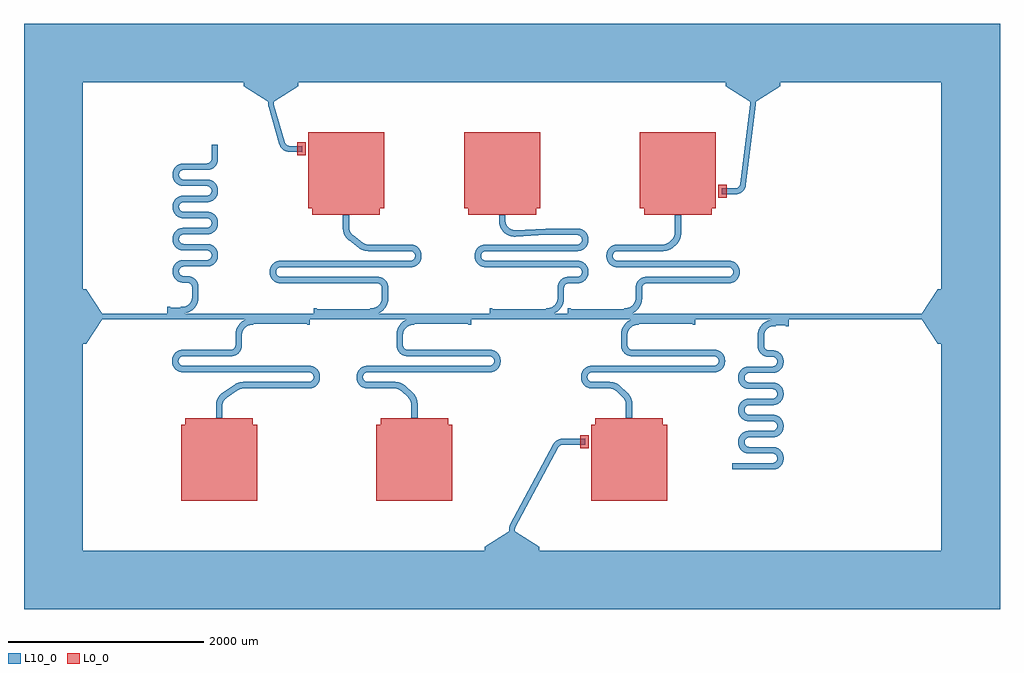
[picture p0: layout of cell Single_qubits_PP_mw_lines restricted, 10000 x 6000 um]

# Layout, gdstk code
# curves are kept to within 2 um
import gdstk
lib = gdstk.Library(unit=1e-6, precision=1e-09)
def R(c, l, rs):  # rectangles x0, y0, x1, y1
    for r in rs: c.add(gdstk.rectangle(r[:2], r[2:], *l))
def P(c, l, *ps):  # polygons
    for p in ps: c.add(gdstk.Polygon(p, *l))
L0_0 = (0, 0)
L10_0 = (10, 0)

single_qubits_pp_mw_line = lib.new_cell('Single_qubits_PP_mw_lines restricted')
R(single_qubits_pp_mw_line, L0_0, [(5700,1650,5785,1785), (5700,1650,5785,1785), (5700,1650,5785,1785), (7115,4215,7200,4350), (7115,4215,7200,4350), (7115,4215,7200,4350), (2800,4650,2885,4785), (2800,4650,2885,4785), (2800,4650,2885,4785)])
P(single_qubits_pp_mw_line, L0_0, [(4510,4890),(4510,4110),(4554,4110),(4554,4044),(5246,4044),(5246,4110),(5290,4110),(5290,4890)],
  [(4390,1110),(4390,1890),(4346,1890),(4346,1956),(3654,1956),(3654,1890),(3610,1890),(3610,1110)],
  [(6546,1890),(6546,1956),(5854,1956),(5854,1890),(5810,1890),(5810,1110),(6590,1110),(6590,1890)],
  [(2390,1110),(2390,1890),(2346,1890),(2346,1956),(1654,1956),(1654,1890),(1610,1890),(1610,1110)],
  [(6354,4110),(6354,4044),(7046,4044),(7046,4110),(7090,4110),(7090,4890),(6310,4890),(6310,4110)],
  [(2910,4890),(2910,4110),(2954,4110),(2954,4044),(3646,4044),(3646,4110),(3690,4110),(3690,4890)],
  [(4510,4890),(4510,4110),(4554,4110),(4554,4044),(5246,4044),(5246,4110),(5290,4110),(5290,4890)],
  [(4390,1110),(4390,1890),(4346,1890),(4346,1956),(3654,1956),(3654,1890),(3610,1890),(3610,1110)],
  [(6546,1890),(6546,1956),(5854,1956),(5854,1890),(5810,1890),(5810,1110),(6590,1110),(6590,1890)],
  [(2390,1110),(2390,1890),(2346,1890),(2346,1956),(1654,1956),(1654,1890),(1610,1890),(1610,1110)],
  [(6354,4110),(6354,4044),(7046,4044),(7046,4110),(7090,4110),(7090,4890),(6310,4890),(6310,4110)],
  [(2910,4890),(2910,4110),(2954,4110),(2954,4044),(3646,4044),(3646,4110),(3690,4110),(3690,4890)],
  [(4510,4890),(4510,4110),(4554,4110),(4554,4044),(5246,4044),(5246,4110),(5290,4110),(5290,4890)],
  [(4390,1110),(4390,1890),(4346,1890),(4346,1956),(3654,1956),(3654,1890),(3610,1890),(3610,1110)],
  [(6546,1890),(6546,1956),(5854,1956),(5854,1890),(5810,1890),(5810,1110),(6590,1110),(6590,1890)],
  [(2390,1110),(2390,1890),(2346,1890),(2346,1956),(1654,1956),(1654,1890),(1610,1890),(1610,1110)],
  [(6354,4110),(6354,4044),(7046,4044),(7046,4110),(7090,4110),(7090,4890),(6310,4890),(6310,4110)],
  [(2910,4890),(2910,4110),(2954,4110),(2954,4044),(3646,4044),(3646,4110),(3690,4110),(3690,4890)])
R(single_qubits_pp_mw_line, L10_0, [(7259,1432.5,7289,1497.5), (7517.5,2720,7582.5,2770), (2167.5,2726.5,2232.5,2776.5), (3817.5,2726.5,3882.5,2776.5), (6117.5,2726.5,6182.5,2776.5), (7805,2902,7835,2967), (7700,2911,7805,3029), (2900,2915,2930,2980), (4550,2915,4580,2980), (6850,2915,6880,2980), (2350,2924,2900,3029), (4000,2924,4550,3029), (6300,2924,6850,3029), (800,2971,9200,3029), (1500,2971,1605,3089), (3000,2971,3550,3076), (4800,2971,5350,3076), (5600,2971,6150,3076), (2970,3020,3000,3085), (4770,3020,4800,3085), (5570,3020,5600,3085), (1470,3033,1500,3098), (3667.5,3223.5,3732.5,3273.5), (5467.5,3223.5,5532.5,3273.5), (6267.5,3223.5,6332.5,3273.5), (1722.5,3230,1787.5,3280), (3538.319,3671,3663.661,3736), (6336.669,3671,6541.681,3736), (5354.646,3836,5557.548,3901), (1922.5,4730,1987.5,4760)])
P(single_qubits_pp_mw_line, L10_0, [(4971,800),(5029,800),(5029.388,824.354),(5034.479,841.085),(5475.783,1663.731),(5487.807,1677.44),(5503.885,1686.043),(5550,1688.5),(5550,1746.5),(5506.487,1745.72),(5476.327,1737.58),(5447.727,1719.522),(5426.04,1693.566),(4982.704,867.236),(4972.612,836.783)],
  [(5750,1685),(5750,1750),(5550,1746.5),(5550,1688.5)],
  [(7499,5200),(7441,5200),(7337.478,4349.028),(7327.237,4329.575),(7308.636,4315.736),(7291.981,4311.636),(7250,4311.5),(7250,4253.5),(7304.023,4254.639),(7341.209,4267.205),(7360.505,4280.85),(7374.832,4296.226),(7385.942,4314.066),(7393.422,4333.706),(7498.205,5175.449)],
  [(7150,4315),(7150,4250),(7250,4253.5),(7250,4311.5)],
  [(2559,5200),(2501,5200),(2502.079,5166.062),(2618.915,4759.764),(2638.623,4726.322),(2668.801,4701.906),(2703.05,4690.016),(2750,4688.5),(2750,4746.5),(2716.316,4746.734),(2701.047,4750.643),(2684.186,4762.393),(2673.333,4779.845),(2560.695,5168.342)],
  [(2850,4685),(2850,4750),(2750,4746.5),(2750,4688.5)],
  [(7771.524,2588.473),(7746.705,2622.299),(7713.661,2643.684),(7680.535,2652.008),(7622.24,2653.14),(7602.807,2661.057),(7592.374,2671.012),(7585.038,2684.688),(7582.5,2720),(7517.5,2720),(7519.009,2681.62),(7529.64,2649.16),(7549.522,2621.387),(7579.16,2599.64),(7601.307,2591.218),(7624.727,2587.621)],
  [(7771.524,2486.527),(7779.424,2508.865),(7782.5,2534.81),(7780.529,2560.977),(7771.961,2587.529),(7627.363,2587.529),(7682.114,2585.927),(7697.193,2578.943),(7709.57,2566.272),(7717.029,2546.659),(7715.927,2522.886),(7706.226,2504.28),(7690.465,2492.137),(7671.113,2487.515),(7429.81,2487.5),(7406.438,2485.007),(7770.777,2485.007)],
  [(7383.14,2362.24),(7382.971,2381.659),(7388.681,2398.427),(7400.138,2411.936),(7415.747,2420.309),(7690.977,2424.471),(7716.08,2432.368),(7738.661,2445.88),(7757.486,2464.268),(7770.777,2485.007),(7406.438,2485.007),(7396.24,2482.317),(7365.591,2467.24),(7342.514,2445.732),(7326.316,2418.661),(7318.27,2388.158),(7317.776,2362.094)],
  [(7772.632,2256.08),(7759.12,2278.661),(7740.732,2297.486),(7720.84,2310.36),(7696.135,2319.424),(7672.637,2322.471),(7424.445,2322.828),(7410.545,2326.669),(7397.616,2335.254),(7388.144,2347.548),(7383.166,2362.094),(7317.776,2362.094),(7325.321,2328.781),(7344.196,2297.237),(7372.233,2273.461),(7403.865,2260.576),(7427.363,2257.529)],
  [(7766.539,2147.233),(7778.079,2173.765),(7782.379,2199.727),(7780.991,2228.38),(7772.699,2255.927),(7682.114,2255.927),(7695.338,2250.175),(7706.936,2239.862),(7714.591,2226.361),(7717.446,2212.226),(7716.444,2195.052),(7710.758,2180.611),(7700.72,2168.774),(7686.361,2160.409),(7671.113,2157.515),(7424.727,2157.379),(7401.307,2153.782),(7381.527,2146.524)],
  [(7385.805,2022.598),(7382.515,2046.113),(7386.669,2064.455),(7398.439,2080.496),(7415.747,2090.309),(7688.38,2094.009),(7711.219,2100.321),(7732.228,2111.275),(7750.478,2126.387),(7766.103,2146.524),(7381.527,2146.524),(7353.295,2127.299),(7333.461,2102.767),(7320.576,2071.135),(7317.529,2037.363),(7319.018,2021.567)],
  [(7774.679,1921.219),(7762.24,1944.409),(7742.763,1965.804),(7720.84,1980.36),(7693.562,1990.007),(7670.19,1992.5),(7425.552,1992.711),(7401.902,2001.705),(7386.225,2021.567),(7319.018,2021.567),(7329.64,1989.16),(7349.522,1961.387),(7376.821,1940.86),(7406.438,1929.993),(7429.81,1927.5),(7671.113,1927.485),(7694.389,1920.758)],
  [(7759.12,1806.339),(7773.684,1831.339),(7781.391,1859.227),(7781.73,1893.158),(7774.854,1920.758),(7694.389,1920.758),(7705.496,1911.561),(7713.331,1899.455),(7717.289,1870.552),(7707.626,1846.012),(7697.193,1836.057),(7685.312,1830.038),(7669.81,1827.5),(7422.094,1827.224),(7391.247,1820.617),(7361.536,1804.268),(7757.486,1804.268)],
  [(7391.705,1681.902),(7383.14,1702.24),(7384.37,1728.187),(7396.023,1748.19),(7414.688,1759.962),(7428.887,1762.485),(7683.158,1763.27),(7723.179,1775.86),(7740.732,1787.514),(7757.486,1804.268),(7361.536,1804.268),(7339.295,1781.553),(7323.504,1751.267),(7317.621,1720.273),(7320.576,1683.865),(7321.218,1681.307)],
  [(7777.317,1583.76),(7765.158,1610.014),(7746.705,1632.299),(7720.84,1650.36),(7693.562,1660.007),(7670.19,1662.5),(7427.774,1662.554),(7407.548,1668.144),(7392.152,1681.307),(7321.218,1681.307),(7333.461,1652.233),(7353.295,1627.701),(7379.16,1609.64),(7406.438,1599.993),(7429.81,1597.5),(7672.226,1597.446),(7689.455,1593.331),(7703.977,1583.19)],
  [(7672.637,1432.529),(7698.693,1436.218),(7723.179,1445.86),(7744.755,1460.926),(7762.24,1480.591),(7774.679,1503.781),(7781.391,1529.227),(7782.224,1557.906),(7777.489,1583.19),(7703.977,1583.19),(7716.444,1559.948),(7715.309,1530.747),(7701.561,1509.504),(7677.76,1498.14),(7289,1497.5),(7289,1432.5)],
  [(7700,2902),(7700,2967),(7667.406,2966.475),(7638.424,2961.465),(7610.819,2951.312),(7585.497,2936.351),(7552.564,2904.719),(7529.25,2864.504),(7518.683,2823.419),(7517.5,2770),(7582.5,2770),(7585.335,2827.164),(7593.67,2849.141),(7607.504,2869.154),(7625.097,2884.74),(7647.751,2896.34),(7670.681,2901.505)],
  [(1935.014,4385.158),(1908.76,4397.317),(1880.273,4402.379),(1629.445,4402.828),(1610.611,4409.242),(1596.057,4422.807),(1596.057,4383.725)],
  [(1596.705,4483.098),(1602.616,4489.746),(1609.662,4495.175),(1617.598,4499.195),(1626.144,4501.665),(1596.057,4501.665),(1596.057,4482.193)],
  [(1596.057,4422.807),(1589.691,4435.747),(1587.5,4450.19),(1589.073,4467.114),(1596.057,4482.193),(1596.057,4501.665),(1532.639,4501.665),(1524.009,4473.38),(1522.992,4439.465),(1529.383,4411.247),(1544.096,4383.725),(1596.057,4383.725)],
  [(1983.079,4253.765),(1987.008,4274.465),(1987.008,4300.535),(1975.36,4340.84),(1960.804,4362.763),(1941.553,4380.705),(1937.228,4383.725),(1916.856,4383.725),(1916.856,4312.452),(1922.5,4289.81),(1916.856,4251.81)],
  [(1916.856,4262.548),(1913.295,4256.902),(1908.977,4251.81),(1916.856,4251.81)],
  [(1916.856,4383.725),(1544.096,4383.725),(1558.295,4367.701),(1574.986,4354.842),(1614.023,4339.471),(1879.448,4337.289),(1901.272,4329.57),(1916.856,4312.452)],
  [(1630.552,4172.289),(1875.19,4172.5),(1898.562,4174.993),(1925.84,4184.64),(1951.705,4202.701),(1970.158,4224.986),(1982.489,4251.81),(1908.977,4251.81),(1894.455,4241.669),(1877.226,4237.554),(1629.445,4237.362)],
  [(1592.629,4146.464),(1607.807,4163.943),(1629.445,4172.172),(1629.445,4237.362),(1596.247,4230.617),(1568.447,4215.705),(1545.88,4193.661),(1530.321,4166.219),(1524.38,4145.465)],
  [(1974.14,4013.179),(1960.804,4032.763),(1943.661,4049.12),(1923.473,4061.524),(1898.562,4070.007),(1875.19,4072.5),(1630.552,4072.711),(1608.728,4080.43),(1593.144,4097.548),(1593.144,4015.581),(1606.307,4011.218)],
  [(1593.144,4097.548),(1587.515,4118.887),(1592.137,4145.465),(1524.38,4145.465),(1522.992,4109.465),(1530.321,4078.781),(1547.514,4049.268),(1570.591,4027.76),(1593.144,4015.581)],
  [(1976.524,3906.527),(1985.529,3934.023),(1987.471,3962.637),(1983.782,3988.693),(1975.163,4011.218),(1912.626,4011.218),(1912.626,3988.988),(1919.962,3975.312),(1922.5,3959.81),(1920.63,3941.813),(1912.626,3926.012),(1912.626,3905.007)],
  [(1912.626,3926.012),(1905.72,3918.774),(1897.452,3913.144),(1888.187,3909.37),(1878.338,3907.62),(1634.81,3907.5),(1621.842,3906.73),(1611.438,3905.007),(1912.626,3905.007)],
  [(1912.626,4011.218),(1606.307,4011.218),(1619.227,4008.609),(1632.363,4007.529),(1878.338,4007.38),(1888.187,4005.63),(1897.452,4001.856),(1905.72,3996.226),(1912.626,3988.988)],
  [(1594.825,3820.338),(1610.611,3835.758),(1631.662,3842.38),(1875.19,3842.5),(1898.562,3844.993),(1923.473,3853.476),(1943.661,3865.88),(1962.486,3884.268),(1975.777,3905.007),(1611.438,3905.007),(1594.242,3899.854)],
  [(1590.805,3772.598),(1587.515,3796.113),(1594.242,3819.389),(1594.242,3899.854),(1566.339,3884.12),(1542.76,3859.409),(1528.504,3831.267),(1522.529,3797.637),(1524.009,3771.62)],
  [(1981.496,3666.267),(1968.725,3692.228),(1949.755,3714.074),(1925.84,3730.36),(1898.562,3740.007),(1875.19,3742.5),(1627.094,3743.166),(1627.094,3677.776),(1876.113,3677.485),(1893.433,3673.775),(1907.384,3664.746)],
  [(1627.094,3743.166),(1605.138,3753.064),(1591.203,3771.62),(1524.009,3771.62),(1534.64,3739.16),(1552.701,3713.295),(1577.233,3693.461),(1606.307,3681.218),(1627.094,3677.776)],
  [(1941.553,3534.295),(1967.24,3560.591),(1982.317,3591.24),(1987.5,3630.19),(1981.994,3664.746),(1916.856,3664.746),(1922.5,3629.81),(1916.856,3602.548),(1916.856,3533.661)],
  [(1916.856,3602.548),(1901.272,3585.43),(1879.448,3577.711),(1614.023,3575.529),(1577.233,3561.539),(1545.88,3533.661),(1916.856,3533.661)],
  [(1916.856,3664.746),(1907.384,3664.746),(1912.626,3658.988),(1916.856,3652.452)],
  [(1622.886,3414.073),(1615.545,3416.669),(1607.807,3421.057),(1601.81,3426.023),(1596.057,3432.807),(1596.057,3413.92)],
  [(1596.705,3493.098),(1611.573,3506.319),(1629.445,3512.172),(1882.906,3512.776),(1913.753,3519.383),(1940.667,3533.661),(1596.057,3533.661)],
  [(1596.057,3432.807),(1589.691,3445.747),(1587.5,3460.19),(1589.073,3477.114),(1596.057,3492.193),(1596.057,3533.661),(1545.88,3533.661),(1530.321,3506.219),(1523.27,3478.158),(1523.609,3444.227),(1532.368,3413.92),(1596.057,3413.92)],
  [(1787.5,3300.19),(1781.496,3336.267),(1764.12,3368.661),(1737.228,3393.725),(1703.098,3408.931),(1703.098,3338.295),(1713.295,3328.098),(1719.962,3315.312),(1722.5,3280),(1787.5,3280)],
  [(1703.098,3408.931),(1677.637,3412.471),(1532.368,3413.92),(1554.522,3381.387),(1588.92,3357.368),(1621.842,3348.27),(1682.76,3346.86),(1703.098,3338.295)],
  [(1627.24,4501.86),(1880.273,4502.621),(1908.76,4507.683),(1935.014,4519.842),(1951.705,4532.701),(1967.24,4550.591),(1984.424,4588.865),(1987.471,4612.363),(1987.5,4730),(1922.5,4730),(1922.029,4608.341),(1915.175,4589.662),(1900.338,4574.825),(1877.226,4567.554),(1632.363,4567.471),(1606.307,4563.782),(1584.16,4555.36),(1562.237,4540.804),(1545.88,4523.661),(1532.639,4501.665)],
  [(1605,3098),(1605,3033),(1637.594,3033.525),(1666.576,3038.535),(1694.181,3048.688),(1719.503,3063.649),(1752.436,3095.281),(1775.75,3135.496),(1786.317,3176.581),(1787.5,3230),(1722.5,3230),(1719.665,3172.836),(1711.33,3150.859),(1697.496,3130.846),(1679.903,3115.26),(1657.249,3103.66),(1634.319,3098.495)],
  [(5991.681,2329),(5991.681,2264),(6027.142,2260.026),(6057.371,2245.035),(6139.786,2168.066),(6157.895,2142.174),(6167.317,2105.926),(6167.5,1956),(6232.5,1956),(6231.662,2116.481),(6222.88,2155.067),(6206.842,2187.62),(6183.981,2215.803),(6108.755,2286.877),(6087.68,2303.056),(6042.309,2323.287)],
  [(7106.267,2435.004),(7138.661,2452.38),(7162.24,2477.091),(7178.079,2510.265),(7182.5,2546.69),(7176.496,2582.767),(7160.705,2613.053),(7136.553,2637.205),(7105.496,2653.248),(7105.496,2578.061),(7114.591,2562.861),(7117.5,2546.31),(7114.962,2526.188),(7105.496,2509.939)],
  [(7070.19,2429),(7105.496,2434.752),(7105.496,2509.939),(7089.455,2498.169),(7071.113,2494.015),(6185.409,2494),(6185.409,2429)],
  [(7105.496,2653.248),(7070.19,2659),(6227.774,2659.054),(6213.639,2661.909),(6201.902,2668.205),(6192.374,2677.512),(6185.409,2690.139),(6185.409,2603.22),(6206.438,2596.493),(6229.81,2594),(7071.113,2593.985),(7089.455,2589.831),(7105.496,2578.061)],
  [(5991.681,2329),(5816.662,2329.12),(5799.535,2333.637),(5785.254,2344.116),(5785.254,2269.506),(5817.363,2264.029),(5991.681,2264)],
  [(5786.81,2415.477),(5801.567,2425.275),(5818.887,2428.985),(6185.409,2429),(6185.409,2494),(5799.023,2492.029),(5785.254,2488.494)],
  [(6185.409,2690.139),(6182.5,2726.5),(6117.5,2726.5),(6119.471,2685.523),(6130.86,2653.321),(6153.295,2624.201),(6185.409,2603.22)],
  [(5785.254,2344.116),(5775.805,2359.098),(5772.5,2376.69),(5775.038,2396.812),(5785.254,2413.884),(5785.254,2488.494),(5753.447,2472.205),(5729.295,2448.053),(5713.504,2417.767),(5707.5,2381.69),(5711.218,2347.807),(5723.461,2318.733),(5743.295,2294.201),(5771.527,2274.976),(5785.254,2269.506)],
  [(6300,2915),(6300,2980),(6266.887,2979.18),(6238.028,2973.594),(6210.649,2962.901),(6185.643,2947.451),(6153.358,2915.198),(6129.276,2873.166),(6118.686,2832.039),(6117.5,2776.5),(6182.5,2776.5),(6185.341,2835.788),(6193.694,2857.786),(6208.98,2880.712),(6226.253,2896.631),(6248.659,2908.671),(6271.467,2914.288)],
  [(3791.681,2329),(3791.681,2264),(3827.142,2260.026),(3857.371,2245.035),(3939.786,2168.066),(3957.895,2142.174),(3967.317,2105.926),(3967.5,1956),(4032.5,1956),(4031.662,2116.481),(4022.88,2155.067),(4006.842,2187.62),(3983.981,2215.803),(3908.755,2286.877),(3887.68,2303.056),(3842.309,2323.287)],
  [(4806.267,2435.004),(4838.661,2452.38),(4862.24,2477.091),(4878.079,2510.265),(4882.5,2546.69),(4876.496,2582.767),(4860.705,2613.053),(4836.553,2637.205),(4805.496,2653.248),(4805.496,2578.061),(4814.591,2562.861),(4817.5,2546.31),(4814.962,2526.188),(4805.496,2509.939)],
  [(4770.19,2429),(4805.496,2434.752),(4805.496,2509.939),(4789.455,2498.169),(4771.113,2494.015),(3885.409,2494),(3885.409,2429)],
  [(4805.496,2653.248),(4770.19,2659),(3927.774,2659.054),(3913.639,2661.909),(3901.902,2668.205),(3892.374,2677.512),(3885.409,2690.139),(3885.409,2603.22),(3906.438,2596.493),(3929.81,2594),(4771.113,2593.985),(4789.455,2589.831),(4805.496,2578.061)],
  [(3791.681,2329),(3517.774,2329.054),(3500.545,2333.169),(3485.254,2344.116),(3485.254,2269.506),(3517.363,2264.029),(3791.681,2264)],
  [(3486.81,2415.477),(3501.567,2425.275),(3518.887,2428.985),(3885.409,2429),(3885.409,2494),(3499.023,2492.029),(3485.254,2488.494)],
  [(3885.409,2690.139),(3882.5,2726.5),(3817.5,2726.5),(3819.471,2685.523),(3830.86,2653.321),(3853.295,2624.201),(3885.409,2603.22)],
  [(3485.254,2344.116),(3475.805,2359.098),(3472.5,2376.69),(3475.038,2396.812),(3485.254,2413.884),(3485.254,2488.494),(3453.447,2472.205),(3429.295,2448.053),(3413.504,2417.767),(3407.5,2381.69),(3411.218,2347.807),(3423.461,2318.733),(3443.295,2294.201),(3471.527,2274.976),(3485.254,2269.506)],
  [(4000,2915),(4000,2980),(3966.887,2979.18),(3938.028,2973.594),(3910.649,2962.901),(3885.643,2947.451),(3853.358,2915.198),(3829.276,2873.166),(3818.686,2832.039),(3817.5,2776.5),(3882.5,2776.5),(3885.341,2835.788),(3893.694,2857.786),(3908.98,2880.712),(3926.253,2896.631),(3948.659,2908.671),(3971.467,2914.288)],
  [(2258.319,2264),(2258.319,2329),(2231.827,2328.155),(2205.744,2323.304),(2160.426,2303.13),(2036.527,2219.727),(2011.557,2198.056),(1985.029,2160.218),(1970.225,2116.442),(1967.532,2090.112),(1967.5,1956),(2032.5,1956),(2033.492,2100.663),(2042.14,2129.068),(2058.936,2153.552),(2073.918,2166.554),(2200.737,2251.555),(2228.617,2261.971)],
  [(2956.267,2270.004),(2988.661,2287.38),(3012.24,2312.091),(3028.079,2345.265),(3032.5,2381.69),(3026.496,2417.767),(3010.705,2448.053),(2986.553,2472.205),(2955.496,2488.248),(2955.496,2413.061),(2964.591,2397.861),(2967.5,2381.31),(2964.962,2361.188),(2955.496,2344.939)],
  [(2922.637,2264.029),(2955.496,2269.752),(2955.496,2344.939),(2939.455,2333.169),(2921.113,2329.015),(2258.319,2329),(2258.319,2264)],
  [(2955.496,2488.248),(2920.19,2494),(2164.962,2494),(2164.962,2429),(2921.113,2428.985),(2939.455,2424.831),(2955.496,2413.061)],
  [(2166.08,2603.868),(2196.705,2624.201),(2219.14,2653.321),(2230.529,2685.523),(2232.5,2726.5),(2167.5,2726.5),(2164.962,2691.188)],
  [(2164.962,2494),(1628.887,2494.015),(1610.545,2498.169),(1595.254,2509.116),(1595.254,2434.506),(1629.81,2429),(2164.962,2429)],
  [(1596.023,2579.69),(1610.545,2589.831),(1628.887,2593.985),(2140.977,2595.971),(2164.962,2603.382),(2164.962,2691.188),(2158.943,2679.307),(2148.988,2668.874),(2136.361,2661.909),(2123.338,2659.12),(1609.023,2657.029),(1595.254,2653.494)],
  [(1595.254,2509.116),(1585.805,2524.098),(1582.5,2541.69),(1585.038,2561.812),(1595.254,2578.884),(1595.254,2653.494),(1563.447,2637.205),(1539.295,2613.053),(1523.504,2582.767),(1517.5,2546.69),(1521.218,2512.807),(1533.461,2483.733),(1553.295,2459.201),(1581.527,2439.976),(1595.254,2434.506)],
  [(2350,2915),(2350,2980),(2316.887,2979.18),(2288.028,2973.594),(2260.649,2962.901),(2235.643,2947.451),(2203.358,2915.198),(2179.276,2873.166),(2168.686,2832.039),(2167.5,2776.5),(2232.5,2776.5),(2235.341,2835.788),(2243.694,2857.786),(2258.98,2880.712),(2276.253,2896.631),(2298.659,2908.671),(2321.467,2914.288)],
  [(6541.681,3736),(6541.681,3671),(6574.982,3673.656),(6609.36,3683.981),(6640.633,3701.602),(6684.847,3739.169),(6707.313,3767.232),(6724.128,3802.643),(6731.974,3841.05),(6732.5,4044),(6667.5,4044),(6667.32,3848.244),(6663.078,3825.11),(6652.385,3801.994),(6636.071,3782.437),(6596.117,3750.041),(6570.928,3739.319)],
  [(7256.267,3347.004),(7288.661,3364.38),(7312.24,3389.091),(7328.079,3422.265),(7332.5,3458.69),(7326.496,3494.767),(7310.705,3525.053),(7286.553,3549.205),(7255.496,3565.248),(7255.496,3490.061),(7264.591,3474.861),(7267.5,3458.31),(7264.962,3438.188),(7255.496,3421.939)],
  [(6337.137,3313.965),(6354.662,3333.675),(6378.887,3340.985),(7233.158,3341.77),(7255.496,3346.752),(7255.496,3421.939),(7239.455,3410.169),(7221.113,3406.015),(6366.842,3405.23),(6336.669,3397.318)],
  [(7255.496,3565.248),(7220.19,3571),(6336.669,3571),(6336.669,3506),(7221.113,3505.985),(7239.455,3501.831),(7255.496,3490.061)],
  [(6332.5,3293.31),(6336.669,3312.955),(6336.669,3397.318),(6309.268,3380.986),(6287.76,3357.909),(6273.504,3329.767),(6267.621,3298.773),(6267.5,3273.5),(6332.5,3273.5)],
  [(6336.669,3571),(6077.774,3571.054),(6060.545,3575.169),(6045.254,3586.116),(6045.254,3511.506),(6077.363,3506.029),(6336.669,3506)],
  [(6046.023,3656.69),(6060.545,3666.831),(6077.774,3670.946),(6336.669,3671),(6336.669,3736),(6077.363,3735.971),(6051.307,3732.282),(6045.254,3730.494)],
  [(6045.254,3586.116),(6035.805,3601.098),(6032.5,3618.69),(6035.038,3638.812),(6045.254,3655.884),(6045.254,3730.494),(6013.447,3714.205),(5989.295,3690.053),(5973.504,3659.767),(5967.5,3623.69),(5971.218,3589.807),(5983.461,3560.733),(6003.295,3536.201),(6031.527,3516.976),(6045.254,3511.506)],
  [(6150,3085),(6150,3020),(6183.113,3020.82),(6211.972,3026.406),(6239.351,3037.099),(6264.357,3052.549),(6296.642,3084.802),(6320.724,3126.834),(6331.314,3167.961),(6332.5,3223.5),(6267.5,3223.5),(6264.659,3164.212),(6256.306,3142.214),(6241.02,3119.288),(6223.747,3103.369),(6201.341,3091.329),(6178.533,3085.712)],
  [(5354.646,3836),(5354.646,3901),(5033.329,3883.839),(5011.651,3885.524),(4990.886,3891.972),(4973.671,3901.7),(4958.773,3914.702),(4938.948,3946.416),(4932.683,3975.342),(4932.5,4044),(4867.5,4044),(4868.336,3964.802),(4873.133,3938.86),(4882.064,3914.036),(4896.757,3888.259),(4915.891,3865.582),(4938.83,3846.763),(4964.808,3832.429),(4999.418,3821.682),(5032.248,3818.794)],
  [(5723.179,3354.36),(5748.613,3373.022),(5767.866,3398.012),(5779.424,3427.365),(5782.5,3458.69),(5778.079,3489.735),(5765.158,3518.514),(5746.705,3540.799),(5720.84,3558.86),(5720.84,3353.14)],
  [(5723.179,3684.36),(5748.613,3703.022),(5767.866,3728.012),(5779.424,3757.365),(5782.5,3788.69),(5778.079,3819.735),(5765.158,3848.514),(5746.705,3870.799),(5720.84,3888.86),(5720.84,3683.14)],
  [(5701.235,3345.421),(5720.84,3353.14),(5720.84,3558.86),(5698.988,3567.2),(5698.988,3496.126),(5712.863,3478.965),(5717.5,3458.31),(5716.86,3445.74),(5713.331,3434.045),(5698.988,3415.874),(5698.988,3344.8)],
  [(5701.235,3675.421),(5720.84,3683.14),(5720.84,3888.86),(5698.988,3897.2),(5698.988,3826.126),(5712.863,3808.965),(5717.5,3788.31),(5716.86,3775.74),(5713.331,3764.045),(5698.988,3745.874),(5698.988,3674.8)],
  [(5558.536,3335.871),(5576.662,3340.88),(5672.637,3341.029),(5698.988,3344.8),(5698.988,3415.874),(5674.448,3406.211),(5557.548,3403.731)],
  [(5698.988,3567.2),(5672.637,3570.971),(5557.548,3571),(5557.548,3506),(5673.338,3505.88),(5686.361,3503.091),(5698.988,3496.126)],
  [(5670.19,3671),(5698.988,3674.8),(5698.988,3745.874),(5686.361,3738.909),(5673.338,3736.12),(5557.548,3736),(5557.548,3671)],
  [(5698.988,3897.2),(5672.637,3900.971),(5557.548,3901),(5557.548,3836),(5673.338,3835.88),(5686.361,3833.091),(5698.988,3826.126)],
  [(5532.5,3293.31),(5539.242,3317.889),(5557.548,3335.356),(5557.548,3403.731),(5526.821,3392.64),(5501.387,3373.978),(5482.134,3348.988),(5470.576,3319.635),(5467.5,3273.5),(5532.5,3273.5)],
  [(5557.548,3571),(4730.19,3571),(4714.688,3573.538),(4701.307,3580.652),(4701.307,3509.718),(4729.81,3506),(5557.548,3506)],
  [(4702.807,3662.443),(4715.747,3668.809),(4730.19,3671),(5557.548,3671),(5557.548,3736),(4719.465,3735.508),(4701.307,3732.282)],
  [(4701.307,3580.652),(4687.629,3597.036),(4682.5,3618.69),(4686.669,3642.955),(4701.307,3661.348),(4701.307,3732.282),(4667.772,3717.225),(4640.88,3692.161),(4623.504,3659.767),(4617.5,3623.69),(4621.218,3589.807),(4633.461,3560.733),(4653.295,3536.201),(4679.16,3518.14),(4701.307,3509.718)],
  [(5350,3085),(5350,3020),(5383.113,3020.82),(5411.972,3026.406),(5439.351,3037.099),(5464.357,3052.549),(5496.642,3084.802),(5520.724,3126.834),(5531.314,3167.961),(5532.5,3223.5),(5467.5,3223.5),(5464.659,3164.212),(5456.306,3142.214),(5441.02,3119.288),(5423.747,3103.369),(5401.341,3091.329),(5378.533,3085.712)],
  [(3538.319,3671),(3538.319,3736),(3505.36,3738.877),(3476.409,3751.315),(3367.925,3833.352),(3345.004,3860.77),(3336.482,3880.963),(3332.686,3902.549),(3332.5,4044),(3267.5,4044),(3269.165,3885.32),(3279.646,3846.888),(3299.161,3812.162),(3329.126,3781.133),(3447.065,3693.087),(3489.691,3675.791)],
  [(3996.267,3512.004),(4028.661,3529.38),(4052.24,3554.091),(4068.079,3587.265),(4072.5,3623.69),(4066.496,3659.767),(4050.705,3690.053),(4026.553,3714.205),(3995.496,3730.248),(3995.496,3655.061),(4004.591,3639.861),(4007.5,3623.31),(4004.962,3603.188),(3995.496,3586.939)],
  [(3732.5,3293.69),(3727.317,3327.26),(3713.725,3355.728),(3690.732,3380.986),(3663.661,3397.184),(3663.661,3312.195),(3667.289,3297.948),(3667.5,3273.5),(3732.5,3273.5)],
  [(3960.19,3506),(3995.496,3511.752),(3995.496,3586.939),(3980.465,3575.637),(3962.226,3571.054),(3663.661,3571),(3663.661,3506)],
  [(3995.496,3730.248),(3962.637,3735.971),(3663.661,3736),(3663.661,3671),(3962.226,3670.946),(3980.465,3666.363),(3995.496,3655.061)],
  [(3663.661,3397.184),(3643.562,3403.507),(3620.19,3406),(2628.887,3406.015),(2610.545,3410.169),(2595.254,3421.116),(2595.254,3346.506),(2629.81,3341),(3621.113,3340.985),(3646.272,3333.07),(3663.661,3312.195)],
  [(2596.81,3492.477),(2611.567,3502.275),(2628.887,3505.985),(3663.661,3506),(3663.661,3571),(2622.094,3570.724),(2595.254,3565.494)],
  [(2595.254,3421.116),(2585.805,3436.098),(2582.5,3453.69),(2585.038,3473.812),(2595.254,3490.884),(2595.254,3565.494),(2563.447,3549.205),(2539.295,3525.053),(2523.504,3494.767),(2517.5,3458.69),(2521.218,3424.807),(2533.461,3395.733),(2553.295,3371.201),(2581.527,3351.976),(2595.254,3346.506)],
  [(3550,3085),(3550,3020),(3583.113,3020.82),(3611.972,3026.406),(3639.351,3037.099),(3664.357,3052.549),(3696.642,3084.802),(3720.724,3126.834),(3731.314,3167.961),(3732.5,3223.5),(3667.5,3223.5),(3664.659,3164.212),(3656.306,3142.214),(3641.02,3119.288),(3623.747,3103.369),(3601.341,3091.329),(3578.533,3085.712)],
  [(5029,800),(4971,800),(4721,640),(4721,132),(5279,132),(5279,640)],
  [(7441,5200),(7499,5200),(7749,5360),(7749,5868),(7191,5868),(7191,5360)],
  [(2501,5200),(2559,5200),(2809,5360),(2809,5868),(2251,5868),(2251,5360)],
  [(9200,3029),(9200,2971),(9360,2721),(9868,2721),(9868,3279),(9360,3279)],
  [(800,2971),(800,3029),(640,3279),(132,3279),(132,2721),(640,2721)],
  [(10000,0),(10000,6000),(0,6000),(0,2721),(132,2721),(132,3279),(600,3279),(600,5400),(2251,5400),(2251,5868),(2809,5868),(2809,5400),(7191,5400),(7191,5868),(7749,5868),(7749,5400),(9400,5400),(9400,3279),(9868,3279),(9868,2721),(9400,2721),(9400,600),(5279,600),(5279,132),(4721,132),(4721,600),(600,600),(600,2721),(0,2721),(0,0)],
  [(5029,800),(4971,800),(4721,640),(4721,132),(5279,132),(5279,640)],
  [(7441,5200),(7499,5200),(7749,5360),(7749,5868),(7191,5868),(7191,5360)],
  [(2501,5200),(2559,5200),(2809,5360),(2809,5868),(2251,5868),(2251,5360)],
  [(9200,3029),(9200,2971),(9360,2721),(9868,2721),(9868,3279),(9360,3279)],
  [(800,2971),(800,3029),(640,3279),(132,3279),(132,2721),(640,2721)],
  [(10000,0),(10000,6000),(0,6000),(0,2721),(132,2721),(132,3279),(600,3279),(600,5400),(2251,5400),(2251,5868),(2809,5868),(2809,5400),(7191,5400),(7191,5868),(7749,5868),(7749,5400),(9400,5400),(9400,3279),(9868,3279),(9868,2721),(9400,2721),(9400,600),(5279,600),(5279,132),(4721,132),(4721,600),(600,600),(600,2721),(0,2721),(0,0)],
  [(5029,800),(4971,800),(4721,640),(4721,132),(5279,132),(5279,640)],
  [(7441,5200),(7499,5200),(7749,5360),(7749,5868),(7191,5868),(7191,5360)],
  [(2501,5200),(2559,5200),(2809,5360),(2809,5868),(2251,5868),(2251,5360)],
  [(9200,3029),(9200,2971),(9360,2721),(9868,2721),(9868,3279),(9360,3279)],
  [(800,2971),(800,3029),(640,3279),(132,3279),(132,2721),(640,2721)],
  [(10000,0),(10000,6000),(0,6000),(0,2721),(132,2721),(132,3279),(600,3279),(600,5400),(2251,5400),(2251,5868),(2809,5868),(2809,5400),(7191,5400),(7191,5868),(7749,5868),(7749,5400),(9400,5400),(9400,3279),(9868,3279),(9868,2721),(9400,2721),(9400,600),(5279,600),(5279,132),(4721,132),(4721,600),(600,600),(600,2721),(0,2721),(0,0)])

lib.write_gds('Single_qubits_PP_mw_lines_restricted.gds')
